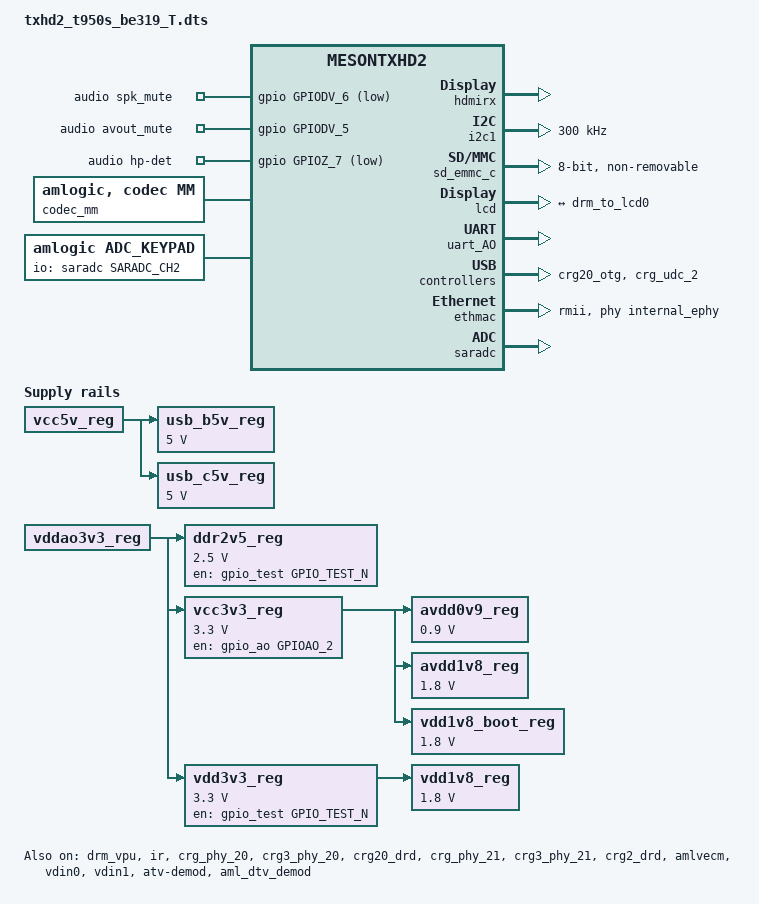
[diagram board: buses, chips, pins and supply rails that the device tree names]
// SPDX-License-Identifier: (GPL-2.0+ OR MIT)
/*
 * Copyright (c) 2019 Amlogic, Inc. All rights reserved.
 */

/dts-v1/;

#include "mesontxhd2.dtsi"
#include "mesontxhd2_drm.dtsi"
#include "meson_txhd2-panel.dtsi"
#include "partition_mbox_normal_txhd2_P_32.dtsi"
#include "mesontxhd2_audio.dtsi"

/ {
	amlogic-dt-id = "txhd2_t950s_be319";
	compatible = "txhd2_t950s_be319";
	interrupt-parent = <&gic>;
	#address-cells = <1>;
	#size-cells = <1>;

	aliases {
		serial0 = &uart_AO;
		serial1 = &uart_A;
		serial2 = &uart_B;
		serial3 = &uart_C;
		serial4 = &uart_AO_B;
		i2c0 = &i2c0;
		i2c1 = &i2c1;
		i2c2 = &i2c2;
		i2c3 = &i2c3;
		i2c4 = &i2c_AO;
		spi0 = &spicc0;
	};

	memory@00000000 {
		device_type = "memory";
		linux,usable-memory = <0x00000000 0x40000000>;
	};

	/* Audio Related start */
	audio: auge_sound {
		compatible = "amlogic, auge-sound-card";
		aml-audio-card,name = "AML-AUGESOUND";
		/*spk mute gpio*/
		spk_mute-gpios = <&gpio GPIODV_6 GPIO_ACTIVE_LOW>;
		spk_mute_sleep_time = <800>;
		/*avout mute gpio*/
		avout_mute-gpios = <&gpio GPIODV_5 GPIO_ACTIVE_HIGH>;
		/* headphone insert det */
		aml-audio-card,hp-det-gpio = <&gpio GPIOZ_7 GPIO_ACTIVE_LOW>;
		interrupts = <GIC_SPI 235 IRQ_TYPE_EDGE_RISING>;
		interrupt-names = "audio_exception64";

		status = "okay";

		aml-audio-card,dai-link@0 {
			format = "dsp_a";
			mclk-fs = <512>;
			//continuous-clock;
			//bitclock-inversion;
			//frame-inversion;
			/* master mode */
			bitclock-master = <&tdma>;
			frame-master = <&tdma>;
			/* slave mode */
			/*
			 * bitclock-master = <&tdmacodec>;
			 * frame-master = <&tdmacodec>;
			 */
			/* suffix-name, sync with android audio hal used for */
			suffix-name = "alsaPORT-pcm";
			tdmacpu: cpu {
				sound-dai = <&tdma>;
				dai-tdm-slot-tx-mask =
							<1 1>;
				dai-tdm-slot-rx-mask =
							<1 1>;
				dai-tdm-slot-num = <2>;
				dai-tdm-slot-width = <16>;
				system-clock-frequency = <256000>;
			};
			tdmacodec: codec {
				sound-dai = <&dummy_codec>;
			};
		};

		aml-audio-card,dai-link@1 {
			format = "i2s";
			mclk-fs = <256>;
			//continuous-clock;
			//bitclock-inversion;
			//frame-inversion;
			/* master mode */
			bitclock-master = <&tdmb>;
			frame-master = <&tdmb>;
			/* slave mode */
			//bitclock-master = <&tdmbcodec>;
			//frame-master = <&tdmbcodec>;
			/* suffix-name, sync with android audio hal
			 * what's the dai link used for
			 */
			suffix-name = "alsaPORT-i2s-i2s4hdmirx";
			cpu {
				sound-dai = <&tdmb>;
				dai-tdm-slot-tx-mask = <1 1>;
				dai-tdm-slot-rx-mask = <1 1>;
				dai-tdm-slot-num = <2>;
				/*
				 * dai-tdm-slot-tx-mask =
				 *	<1 1 1 1 1 1 1 1>;
				 * dai-tdm-slot-rx-mask =
				 *	<1 1 1 1 1 1 1 1>;
				 * dai-tdm-slot-num = <8>;
				 */
				dai-tdm-slot-width = <32>;
				system-clock-frequency = <12288000>;
			};
			tdmbcodec: codec {
				prefix-names = "AMP";
				sound-dai = <&dummy_codec>;
			};
		};

		aml-audio-card,dai-link@2 {
			format = "i2s";
			mclk-fs = <256>;
			//continuous-clock;
			//bitclock-inversion;
			//frame-inversion;
			/* master mode */
			bitclock-master = <&tdmc>;
			frame-master = <&tdmc>;
			/* slave mode */
			//bitclock-master = <&tdmccodec>;
			//frame-master = <&tdmccodec>;
			/* suffix-name, sync with android audio hal used for */
			suffix-name = "alsaPORT-i2s4parser";
			cpu {
				sound-dai = <&tdmc>;
				dai-tdm-slot-tx-mask = <1 1>;
				dai-tdm-slot-rx-mask = <1 1>;
				dai-tdm-slot-num = <2>;
				dai-tdm-slot-width = <32>;
				system-clock-frequency = <12288000>;
			};
			tdmccodec: codec {
				sound-dai = <&dummy_codec>;
			};
		};
		aml-audio-card,dai-link@3 {
			mclk-fs = <64>;
			/* suffix-name, sync with android audio hal
			 * what's the dai link used for
			 */
			suffix-name = "alsaPORT-pdm-builtinmic";
			cpu {
				sound-dai = <&pdma>;
			};
			codec {
				sound-dai = <&dummy_codec>;
			};
		};

		aml-audio-card,dai-link@4 {
			mclk-fs = <128>;
			//continuous-clock;
			/* suffix-name, sync with android audio hal used for */
			suffix-name = "alsaPORT-spdif";
			cpu {
				sound-dai = <&spdifa>;
				system-clock-frequency = <6144000>;
			};
			codec {
				sound-dai = <&dummy_codec>;
			};
		};

		/* spdif_b to hdmi, only playback */
		aml-audio-card,dai-link@5 {
			mclk-fs = <128>;
			//continuous-clock;
			/* suffix-name, sync with android audio hal
			 * what's the dai link used for
			 */
			suffix-name = "alsaPORT-spdifb";
			cpu {
				sound-dai = <&spdifb>;
				system-clock-frequency = <6144000>;
			};
			codec {
				sound-dai = <&dummy_codec>;
			};
		};

		aml-audio-card,dai-link@6 {
			mclk-fs = <256>;
			continuous-clock;
			suffix-name = "alsaPORT-loopback";
			cpu {
				sound-dai = <&loopbacka>;
				system-clock-frequency = <12288000>;
			};
			codec {
				sound-dai = <&dummy_codec>;
			};
		};

		aml-audio-card,dai-link@7 {
			mclk-fs = <256>;
			suffix-name = "alsaPORT-tv";
			cpu {
				sound-dai = <&extn>;
				system-clock-frequency = <12288000>;
			};
			codec {
				sound-dai = <&dummy_codec>;
			};
		};
	};
	reserved-memory {
		#address-cells = <1>;
		#size-cells = <1>;
		ranges;

		/* global autoconfigured region for contiguous allocations */
		ramoops@0x07400000 {
			compatible = "ramoops";
			reg = <0x07400000 0x00100000>;
			record-size = <0x20000>;
			console-size = <0x40000>;
			ftrace-size = <0x80000>;
			pmsg-size = <0x20000>;
		};

		debug_reserved:linux,iotrace {
			compatible = "amlogic, iotrace";
			reg = <0x04f00000 0x00100000>;
			io-size = <0x1b000>;
			sched-size = <0x2000>;
			irq-size = <0x1000>;
			smc-size = <0x1000>;
			misc-size = <0x1000>;
		};

		dmc_reserved:linux,dmc_monitor {
			compatible = "amlogic,dmc_monitor-reserved";
			reg = <0x0 0x80000>;
		};

		defendkey_reserved:linux,defendkey {
			compatible = "amlogic, defendkey";
			reg = <0x04e00000 0x100000>;
		};

		secmon_reserved:linux,secmon {
			compatible = "shared-dma-pool";
			no-map;
			alignment = <0x400000>;
			reg = <0x05000000 0x02400000>;
		};

		/*  POST PROCESS MANAGER */
		ppmgr_reserved:linux,ppmgr {
			compatible = "shared-dma-pool";
			size = <0x0 0x0>;
		};

		picdec_cma_reserved:linux,picdec {
			compatible = "shared-dma-pool";
			reusable;
			size = <0x0>;
			alignment = <0x0>;
			linux,contiguous-region;
		};

		ion_cma_reserved:linux,ion-dev {
			compatible = "shared-dma-pool";
			reusable;
			size = <0x0>;
			alignment = <0x400000>;
			alloc-ranges = <0x0 0x3f000000>;
		};

		ion_fb_reserved:linux,ion-fb {
			compatible = "shared-dma-pool";
			reusable;
			size = <0x1000000>;
			alignment = <0x400000>;
			alloc-ranges = <0x0 0x3f000000>;
		};

		logo_reserved:linux,meson-fb {
			compatible = "amlogic, meson-fb";
			alignment = <0x400000>;
			reg = <0x3f800000 0x400000>;
		};

		lcd_tcon_reserved:linux,lcd_tcon {
			compatible = "amlogic, lcd_tcon";
			reg = <0x3f000000 0x00402840>;
			//no-map;
		};

		/*  vdin0 CMA pool */
		/*vdin0_cma_reserved:linux,vdin0_cma {*/
		/*	compatible = "shared-dma-pool";*/
		/*	reusable;*/
		/* up to 1920x1080 yuv422 8bit and 5 buffers
		 * 1920x1080x2x5 = 20 M
		 */
		/*	size = <0x0 0x01400000>;*/
		/*	alignment = <0x0 0x400000>;*/
		/*};*/
		/*  vdin1 CMA pool */
		vdin1_cma_reserved:linux,vdin1_cma {
			compatible = "shared-dma-pool";
			reusable;
			/* up to 1280x720 yuv422 8bit and 4 buffers
			 * 1280x720x2x4 = 8 M
			 * size = <0x0 0x800000>;
			 */
			size = <0x0 0x800000>;
			alignment = <0x0 0x400000>;
			alloc-ranges = <0x0 0x3f000000>;
		};

		codec_mm_cma:linux,codec_mm_cma {
			compatible = "shared-dma-pool";
			reusable;
			/* ion_codec_mm max can alloc size 80M */
			size = <0xa800000>;
			alignment = <0x400000>;
			linux,contiguous-region;
			alloc-ranges = <0x30000000 0x10000000>;
		};

		/* codec shared reserved */
		codec_mm_reserved:linux,codec_mm_reserved {
			compatible = "amlogic, codec-mm-reserved";
			size = <0x0>;
			alignment = <0x100000>;
			//no-map;
		};

		secure_vdec_reserved:linux,secure_vdec_reserved {
			compatible = "amlogic, secure-vdec-reserved";
			no-map;
			size = <0x400000>;
			alignment = <0x100000>;
		};
	};

	usb_b5v_reg: fixed@usb_b5v_reg{
		vin-supply = <&vcc5v_reg>;
		compatible = "regulator-fixed";
		regulator-name = "USB_B_5V";
		regulator-min-microvolt = <5000000>;
		regulator-max-microvolt = <5000000>;
		regulator-boot-on;
		regulator-always-on;
	};

	usb_c5v_reg: fixed@usb_c5v_reg{
		vin-supply = <&vcc5v_reg>;
		compatible = "regulator-fixed";
		regulator-name = "USB_C_5V";
		regulator-min-microvolt = <5000000>;
		regulator-max-microvolt = <5000000>;
		regulator-boot-on;
		regulator-always-on;
	};

	ddr2v5_reg: fixed@ddr2v5_reg{
		vin-supply = <&vddao3v3_reg>;
		compatible = "regulator-fixed";
		regulator-name = "DDR4_2V5";
		regulator-min-microvolt = <2500000>;
		regulator-max-microvolt = <2500000>;
		gpio = <&gpio_test GPIO_TEST_N GPIO_ACTIVE_HIGH>;
		enable-active-high;
		regulator-boot-on;
		regulator-always-on;
	};

	vcc3v3_reg: fixed@vcc3v3_reg{
		vin-supply = <&vddao3v3_reg>;
		compatible = "regulator-fixed";
		regulator-name = "VCC_3V3";
		regulator-min-microvolt = <3300000>;
		regulator-max-microvolt = <3300000>;
		gpio = <&gpio_ao GPIOAO_2 GPIO_ACTIVE_HIGH>;
		enable-active-high;
		regulator-boot-on;
		regulator-always-on;
	};

	vdd3v3_reg: fixed@vdd3v3_reg{
		vin-supply = <&vddao3v3_reg>;
		compatible = "regulator-fixed";
		regulator-name = "VDD_3V3";
		regulator-min-microvolt = <3300000>;
		regulator-max-microvolt = <3300000>;
		gpio = <&gpio_test GPIO_TEST_N GPIO_ACTIVE_HIGH>;
		enable-active-high;
		regulator-boot-on;
		regulator-always-on;
	};

	avdd0v9_reg: fixed@avdd0v9_reg{
		vin-supply = <&vcc3v3_reg>;
		compatible = "regulator-fixed";
		regulator-name = "AVDD0V9";
		regulator-min-microvolt = <900000>;
		regulator-max-microvolt = <900000>;
		regulator-boot-on;
		regulator-always-on;
	};

	avdd1v8_reg: fixed@avdd1v8_reg{
		vin-supply = <&vcc3v3_reg>;
		compatible = "regulator-fixed";
		regulator-name = "AVDD1V8";
		regulator-min-microvolt = <1800000>;
		regulator-max-microvolt = <1800000>;
		regulator-boot-on;
		//regulator-always-on;
	};

	vdd1v8_boot_reg: fixed@vdd1v8_boot_reg{
		vin-supply = <&vcc3v3_reg>;
		compatible = "regulator-fixed";
		regulator-name = "VDD18_BOOT";
		regulator-min-microvolt = <1800000>;
		regulator-max-microvolt = <1800000>;
		regulator-boot-on;
		//regulator-always-on;
	};

	vdd1v8_reg: fixed@vdd1v8_reg{
		vin-supply = <&vdd3v3_reg>;
		compatible = "regulator-fixed";
		regulator-name = "VDD_1V8";
		regulator-min-microvolt = <1800000>;
		regulator-max-microvolt = <1800000>;
		regulator-boot-on;
		//regulator-always-on;
	};

	codec_mm {
		compatible = "amlogic, codec, mm";
		memory-region = <&codec_mm_cma &codec_mm_reserved &secure_vdec_reserved>;
		dev_name = "codec_mm";
		status = "okay";
	};

	hdmirx {
		compatible = "amlogic, hdmirx_txhd2";
		#address-cells=<1>;
		#size-cells=<1>;
		/*memory-region = <&hdmirx_emp_cma_reserved>;*/
		status = "okay";
		pinctrl-names = "hdmirx_pins";
		pinctrl-0 = <&hdmirx_a_mux &hdmirx_b_mux>;
		repeat = <0>;
		/*power-domains = <&pwrdm PDIP_TXHD2_VPU_HDMI>;*/
		interrupts = <0 41 IRQ_TYPE_LEVEL_HIGH>;
		clocks =<&clkc CLKID_HDMIRX_CFG>,
			   <&clkc CLKID_HDMIRX_ACR>,
			   <&clkc CLKID_HDMIRX_METER>,
			   <&clkc CLKID_HDMIRX_2M>,
			   <&clkc CLKID_HDMIRX_5M>,
			   <&clkc CLKID_HDMIRX_HDCP>,
			   <&xtal>,
			   <&clkc CLKID_FCLK_DIV4>,
			   <&clkc CLKID_FCLK_DIV5>;
		clock-names = "hdmirx_cfg_clk",
				"cts_hdmirx_acr_ref_clk",
				"cts_hdmirx_meter_clk",
				"cts_hdmirx_2m_clk",
				"cts_hdmirx_5m_clk",
				"cts_hdmirx_hdcp2x_eclk",
				"xtal",
				"fclk_div4",
				"fclk_div5";
		power-domains = <&pwrdm 2>;
		hdmirx_id = <0>;
		en_4k_2_2k = <0>;
		hpd_low_cec_off = <1>;
		arc_port = <1>;
		vrr_range_dynamic_update_en = <1>;
		/* bit4: enable feature, bit3~0: port number */
		disable_port = <0x0>;
		/* MAP_ADDR_MODULE_CBUS */
		/* MAP_ADDR_MODULE_HIU */
		/* MAP_ADDR_MODULE_HDMIRX_CAPB3 */
		/* MAP_ADDR_MODULE_SEC_AHB */
		/* MAP_ADDR_MODULE_SEC_AHB2 */
		/* MAP_ADDR_MODULE_APB4 */
		/* MAP_ADDR_MODULE_TOP */
		/* MAP_ADDR_MODULE_CLK_CTRL */
		/* MAP_ADDR_MODULE_ANA_CTRL */
		/* MAP_ADDR_MODULE_COR */
		reg = < 0x0 0x0
			0xff63C000 0x2000
			0x0 0x0
			0x0 0x0
			0x0 0x0
			0x0 0x0
			0xff618000 0x7fff
			0xff646000 0x1fff
			0x0 0x0
			0xff680000 0xffff>;
	};

	unifykey{
		compatible = "amlogic,unifykey";
		status = "okay";
		unifykey-num = <24>;
		unifykey-index-0 = <&keysn_0>;
		unifykey-index-1 = <&keysn_1>;
		unifykey-index-2 = <&keysn_2>;
		unifykey-index-3 = <&keysn_3>;
		unifykey-index-4 = <&keysn_4>;
		unifykey-index-5 = <&keysn_5>;
		unifykey-index-6 = <&keysn_6>;
		unifykey-index-7 = <&keysn_7>;
		unifykey-index-8 = <&keysn_8>;
		unifykey-index-9 = <&keysn_9>;
		unifykey-index-10= <&keysn_10>;
		unifykey-index-11= <&keysn_11>;
		unifykey-index-12= <&keysn_12>;
		unifykey-index-13= <&keysn_13>;
		unifykey-index-14= <&keysn_14>;
		unifykey-index-15= <&keysn_15>;
		unifykey-index-16= <&keysn_16>;
		unifykey-index-17= <&keysn_17>;
		unifykey-index-18= <&keysn_18>;
		unifykey-index-19= <&keysn_19>;
		unifykey-index-20= <&keysn_20>;
		unifykey-index-21= <&keysn_21>;
		unifykey-index-22= <&keysn_22>;
		unifykey-index-23= <&keysn_23>;
		keysn_0: key_0{
			key-name = "usid";
			key-device = "normal";
			key-permit = "read","write","del";
		};
		keysn_1:key_1{
			key-name = "mac";
			key-device = "normal";
			key-permit = "read","write","del";
		};
		keysn_2:key_2{
			key-name = "hdcp";
			key-device = "secure";
			key-type = "sha1";
			key-permit = "read","write","del";
		};
		keysn_3:key_3{
			key-name = "secure_boot_set";
			key-device = "efuse";
			key-permit = "write";
		};
		keysn_4:key_4{
			key-name = "mac_bt";
			key-device = "normal";
			key-permit = "read","write","del";
			key-type  = "mac";
		};
		keysn_5:key_5{
			key-name = "mac_wifi";
			key-device = "normal";
			key-permit = "read","write","del";
			key-type = "mac";
		};
		keysn_6:key_6{
			key-name = "hdcp2_tx";
			key-device = "normal";
			key-permit = "read","write","del";
		};
		keysn_7:key_7{
			key-name = "hdcp2_rx";
			key-device = "normal";
			key-permit = "read","write","del";
		};
		keysn_8:key_8{
			key-name = "widevinekeybox";
			key-device = "secure";
			key-permit = "read","write","del";
		};
		keysn_9:key_9{
			key-name = "deviceid";
			key-device = "normal";
			key-permit = "read","write","del";
		};
		keysn_10:key_10{
			key-name = "hdcp22_fw_private";
			key-device = "secure";
			key-permit = "read","write","del";
		};
		keysn_11:key_11{
			key-name = "PlayReadykeybox25";
			key-device = "secure";
			key-permit = "read","write","del";
		};
		keysn_12:key_12{
			key-name = "prpubkeybox";// PlayReady
			key-device = "secure";
			key-permit = "read","write","del";
		};
		keysn_13:key_13{
			key-name = "prprivkeybox";// PlayReady
			key-device = "secure";
			key-permit = "read","write","del";
		};
		keysn_14:key_14{
			key-name = "attestationkeybox";// attestation key
			key-device = "secure";
			key-permit = "read","write","del";
		};
		keysn_15:key_15{
			key-name = "region_code";
			key-device = "normal";
			key-permit = "read","write","del";
		};
		keysn_16:key_16{
			key-name = "netflix_mgkid";
			key-device = "secure";
			key-permit = "read","write","del";
		};
		keysn_17:key_17{
			key-name = "attestationdevidbox";// attest dev id box
			key-device = "secure";
			key-permit = "read","write","del";
		};
		keysn_18:key_18{
			key-name = "oemkey";
			key-device = "normal";
			key-permit = "read","write","del";
		};
		keysn_19:key_19{
			key-name = "lcd";
			key-device = "normal";
			key-permit = "read","write","del";
		};
		keysn_20:key_20{
			key-name = "lcd_extern";
			key-device = "normal";
			key-permit = "read","write","del";
		};
		keysn_21:key_21{
			key-name = "backlight";
			key-device = "normal";
			key-permit = "read","write","del";
		};
		keysn_22:key_22{
			key-name = "lcd_tcon";
			key-device = "normal";
			key-permit = "read","write","del";
		};
		keysn_23:key_23{
			key-name = "lcd_tcon_spi";
			key-device = "normal";
			key-permit = "read","write","del";
		};
	};//End unifykey

	ppmgr {
		compatible = "amlogic, ppmgr";
		memory-region = <&ppmgr_reserved>;
		dev_name = "ppmgr";
		status = "okay";
	};

	video_queue {
		compatible = "amlogic, video_queue";
		dev_name = "videoqueue";
		status = "okay";
	};

	picdec {
		compatible = "amlogic, picdec";
		memory-region = <&picdec_cma_reserved>;
		dev_name = "picdec";
		status = "okay";
	};

	ionvideo {
		compatible = "amlogic, ionvideo";
		dev_name = "ionvideo";
		status = "okay";
	};

	amlvideo2_0 {
		compatible = "amlogic, amlvideo2";
		dev_name = "amlvideo2";
		status = "okay";
		amlvideo2_id = <0>;
		cma_mode = <1>;
	};

	amlvideo2_1 {
		compatible = "amlogic, amlvideo2";
		dev_name = "amlvideo2";
		status = "okay";
		amlvideo2_id = <1>;
		cma_mode = <1>;
		/*all NV21 1:720P 2:1080P 3:4K*/
		codec_mm_alloc = <1>;
	};

	/* for external keypad */
	adc_keypad {
		compatible = "amlogic, adc_keypad";
		status = "okay";
		key_name = "power", "vol-", "vol+", "ok";
		key_num = <4>;
		io-channels = <&saradc SARADC_CH2>;
		io-channel-names = "key-chan-2";
		key_chan = <SARADC_CH2 SARADC_CH2 SARADC_CH2 SARADC_CH2>;
		key_code = <KEY_POWER KEY_VOLUMEDOWN KEY_VOLUMEUP KEY_ENTER>;
		/* key_val = voltage / 1800mV * 1023 */
		key_val = <0 143 266 389>;
		key_tolerance = <40 40 40 40>;
		mboxes = <&mbox_pl TXHD2_REE2AO_KEYPAD>;
	};

	atv-demod {
		compatible = "amlogic, atv-demod";
		status = "okay";
		btsc_sap_mode = <1>;
		interrupts = <0 236 1>;
		//pinctrl-names="atvdemod_agc_pins";
		//pinctrl-0=<&atvdemod_agc_pins>;
		reg = <0xff656000 0x2000    // demod reg
				0xff646000 0x2000   // clktree reg
				0x0 0x0             // periphs reg
				0xff64a000 0x2000>; // adec reg
		//common_agc = <1>;
	};

	aml_dtv_demod {
		compatible = "amlogic, ddemod-txhd2";
		dev_name = "aml_dtv_demod";
		status = "okay";
		//pinctrl-names="if_agc_pins";
		//pinctrl-0=<&dtvdemod_if_agc_pins>;
		power-domains = <&pwrdm PDID_DEMOD>;
		reg = <0xff670000 0x10000 //dtv demod base
				0xff646000 0x2000 //clktree reg base
				0xff800000 0x1000 //io_aobus_base
				0xffd01000 0x2000>; //system reset

		cma_mem_size = <8>; // MB
	};

	dvb-extern {
		compatible = "amlogic, dvb-extern";
		dev_name = "dvb-extern";
		status = "okay";

		fe_num = <1>;
		fe0_demod = "internal";

		tuner_num = <1>; // tuner number, multi tuner support
		tuner0_name = "mxl661_tuner";
		tuner0_i2c_adap = <&i2c1>;
		tuner0_i2c_addr = <0x60>; // 8 bits
		tuner0_xtal = <0>;       // 0: 16MHz, 1: 24MHz
		tuner0_xtal_mode = <0>;
		tuner0_xtal_cap = <25>;
	};

	dvb-demux {
		compatible = "amlogic, dvb-demux";
		dev_name = "dvb-demux";
		status = "okay";

		dmx = <&demux>;
		key_endia = <1>;
		add_s2p2 = <1>;
		add_ts_in = <1>;
		add_asyncfifo = <1>;

		/*"parallel","serial","disable"*/
		ts2 = "parallel";
		ts2_control = <0>;
		ts2_invert = <0>;
		tsin_deglitch = <1>;

		clocks = <&clkc CLKID_CLK81_DMUX
		&clkc CLKID_CLK81_AHB_ARB0
		&clkc CLKID_CLK81_PARSER>;
		clock-names = "demux", "ahbarb0", "parser_top";
	};
}; /* end of / */

&i2c1 {
	status = "okay";
	clock-frequency = <300000>;
	pinctrl-names="default";
	pinctrl-0=<&i2c1_pins1>;
};

&CPU0 {
	operating-points-v2 = <&single_cpu_opp_table0>,
		<&single_cpu_opp_table1>,
		<&single_cpu_opp_table2>,
		<&single_cpu_opp_table3>;
};

&CPU1 {
	operating-points-v2 = <&single_cpu_opp_table0>,
		<&single_cpu_opp_table1>,
		<&single_cpu_opp_table2>,
		<&single_cpu_opp_table3>;
};

&CPU2 {
	operating-points-v2 = <&single_cpu_opp_table0>,
		<&single_cpu_opp_table1>,
		<&single_cpu_opp_table2>,
		<&single_cpu_opp_table3>;
};

&CPU3 {
	operating-points-v2 = <&single_cpu_opp_table0>,
		<&single_cpu_opp_table1>,
		<&single_cpu_opp_table2>,
		<&single_cpu_opp_table3>;
};

&spdifa {
	pinctrl-names = "spdif_pins",
			"spdif_pins_mute";
	pinctrl-0 = <&spdif_out_a_dv3_pins>;
	pinctrl-1 = <&spdifout_a_mute_dv3_pins>;
};

&acodec {
	diff_output = <1>;
	/*0: 0dB; 1: 6dB; 2: 12dB; 3: 18dB;*/
	dac_extra_gain = <1>;
	/*-12db+ (0xe -1)* 1.5db = 7.5 db*/
	adc_pga_gain = <0xe>;
};

&aed {
	status = "disabled";
};

&spicc0 {
	status = "disabled";
	pinctrl-names = "default";
	pinctrl-0 = <&spicc0_pins_c>;
	cs-gpios = <&gpio GPIOC_7 GPIO_ACTIVE_HIGH>;
	assigned-clocks = <&clkc CLKID_SPICC0>;
	assigned-clock-parents = <&clkc CLKID_FCLK_DIV2>;
	assigned-clock-rates = <200000000>;
	parent_clk_fixed;
};

&pinctrl_periphs {
	tdm_b_pins: tdm_b_pin {
		mux { /* GPIOC_0, GPIOC_5, GPIOC_4 */
			groups = "tdm_sclk1_c0",
				"tdm_fs1_c5",
				"tdm_d2_c4";
			function = "tdm";
		};
	};
	tdmout_a_gpio: tdmout_a_gpio {
		mux { /* GPIOC_0, GPIOC_5,  GPIOC_4*/
			groups ="GPIOC_0",
				"GPIOC_5",
				"GPIOC_4";
			function = "gpio_periphs";
			output-low;
		};
	};
	/*backlight*/
	bl_pwm_vs_on_pins:bl_pwm_vs_on_pin {
		mux {
			groups = "pwm_vs_z1";
			function = "pwm_vs";
		};
	};
	bl_pwm_off_pins:bl_pwm_off_pin {
		mux {
			groups = "GPIOZ_1";
			function = "gpio_periphs";
			output-low;
		};
	};
};

&pinctrl_aobus {
	pdmin: pdmin {
		mux { /* GPIOAO_12, GPIOAO_13*/
			groups = "pdm_din0_ao12",
					"pdm_dclk_ao13";
			function = "pdm_ao";
		};
	};
};

&pinctrl_audio {
	tdm_d2_pins: tdm_d2_pin {
		mux {
			groups = "tdm_d2";
			function = "tdmoutb_lane0";
		};
	};
	tdmb_clk_pins: tdmb_clk_pin {
		mux {
			groups = "tdm_sclk1", "tdm_lrclk1";
			function = "tdm_clk_outb";
		};
	};
};

&sd_emmc_c {
	status = "okay";
	pinctrl-0 = <&emmc_pins>, <&emmc_ds_pins>;
	pinctrl-1 = <&emmc_clk_gate_pins>;
	pinctrl-names = "default", "clk-gate";

	bus-width = <8>;
	cap-sd-highspeed;
	cap-mmc-highspeed;
	mmc-ddr-1_8v;
	mmc-hs200-1_8v;
	mmc-hs400-1_8v;
	max-frequency = <200000000>;
	non-removable;
	disable-wp;

//  mmc-pwrseq = <&emmc_pwrseq>;
//  vmmc-supply = <&vddao_3v3>;
//  vqmmc-supply = <&vddao_1v8>;
};

&meson_fb {
	status = "disabled";
	display_size_default = <1280 720 1280 2160 32>;
	mem_size = <0x00400000 0xb00000 0x100000>;
	logo_addr = "0x3f800000";
	mem_alloc = <0>;
	pxp_mode = <0>; /** 0:normal mode 1:pxp mode */
};

&drm_vpu {
	status = "okay";
	logo_addr = "0x3f800000";

	connectors_dev: port@1 {
		drm_to_lcd0: endpoint@0 {
			reg = <0>;
			remote-endpoint = <&lcd0_to_drm>;
		};
	};
};

&lcd {
	ports {
		port {
			#address-cells = <1>;
			#size-cells = <0>;
			lcd0_to_drm: endpoint@0 {
				reg = <0>;
				remote-endpoint = <&drm_to_lcd0>;
			};
		};
	};
};

&uart_AO {
	status = "okay";
};

&ir {
	status = "okay";
	pinctrl-0 = <&remote_pins>;
	pinctrl-names = "default";
};

&crg_phy_20 {
	status = "okay";
	portnum = <1>;
};

&crg3_phy_20 {
	status = "okay";
	portnum = <0>;
};

&crg20_otg {
	status = "okay";
	controller-type = <1>;
};

&crg20_drd {
	compatible = "amlogic, crg-drd";
	status = "okay";
};

&crg_udc_2 {
	status = "okay";
};

&crg_phy_21 {
	status = "okay";
	portnum = <2>;
	gpio-vbus-power = "GPIODV_7";
	gpios = <&gpio GPIODV_7 GPIO_ACTIVE_HIGH>;
};

&crg3_phy_21 {
	status = "okay";
	portnum = <0>;
};

&crg2_drd {
	compatible = "amlogic, crg-host-drd";
	status = "okay";
};

&ethmac {
	status = "okay";
	phy-handle = <&internal_ephy>;
	phy-mode = "rmii";
};

&saradc {
	status = "okay";
};

&amlvecm {
	status = "okay";
	gamma_en = <1>;/*1:enable ;0:disable*/
	wb_en = <1>;/*1:enable ;0:disable*/
	cm_en = <1>;/*1:enable ;0:disable*/
	wb_sel = <0>;/*1:mtx ;0:gainoff*/
	vlock_en = <1>;/*1:enable;0:disable*/
	vlock_mode = <0x8>;
	vrr_priority = <1>;/*1:game mode vrr always on;0:vrr on depend on vrr signal*/
	/*vlock work mode:
	 *bit0:auto ENC
	 *bit1:auto PLL
	 *bit2:manual PLL
	 *bit3:manual ENC
	 *bit4:manual soft ENC
	 *bit5:manual MIX PLL ENC
	 */
	vlock_pll_m_limit = <1>;
	vlock_line_limit = <2>;
	interrupts = <0 87 1>;
	interrupt-names = "lc_curve";
};

/*if you want to use vdin just modify status to "ok"*/
&vdin0 {
	/*memory-region = <&vdin0_cma_reserved>;*/
	status = "okay";
	/*MByte, if 10bit disable: 64M(YUV422),
	 *if 10bit enable: 64*1.5 = 96M(YUV422)
	 *if support 4K2K-YUV444-10bit-WR:3840*2160*4*4 ~= 128M
	 *if support 4K2K-YUV422-10bit-wr:3840*2160*3*4 ~= 96M
	 *if support 4K2K-YUV422-8BIT-WR:3840*2160*2*4 ~= 64M
	 *if support 1080p-YUV422-8BIT-WR:1920*1080*2*4 ~= 16M
	 * onebuffer:
	 * worst case:(4096*2160*3 + 2M(afbce issue)) = 27.5M
	 * dw:960x540x3 = 1.5M
	 * total size:(27.5+1.5)x buffernumber
	 */
	cma_size = <80>;
	frame_buff_num = <10>;
};

&vdin1 {
	memory-region = <&vdin1_cma_reserved>;
	status = "okay";
};
